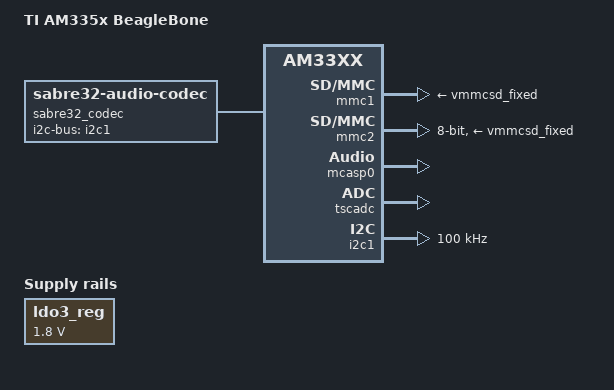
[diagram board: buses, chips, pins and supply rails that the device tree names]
/*
 * Copyright (C) 2012 Texas Instruments Incorporated - http://www.ti.com/
 *
 * This program is free software; you can redistribute it and/or modify
 * it under the terms of the GNU General Public License version 2 as
 * published by the Free Software Foundation.
 */
/dts-v1/;

#include "am33xx.dtsi"
#include "am335x-bone-common.dtsi"

/ {
	model = "TI AM335x BeagleBone";
	compatible = "ti,am335x-bone", "ti,am335x-bone-black", "ti,am335x-bone", "ti,am33xx";
};

&ldo3_reg {
	regulator-min-microvolt = <1800000>;
	regulator-max-microvolt = <1800000>;
	regulator-always-on;
};

&mmc1 {
	vmmc-supply = <&vmmcsd_fixed>;
};

&mmc2 {
	vmmc-supply = <&vmmcsd_fixed>;
	pinctrl-names = "default";
	pinctrl-0 = <&emmc_pins>;
	bus-width = <8>;
	status = "okay";
};

&cpu0_opp_table {
	/*
	 * All PG 2.0 silicon may not support 1GHz but some of the early
	 * BeagleBone Blacks have PG 2.0 silicon which is guaranteed
	 * to support 1GHz OPP so enable it for PG 2.0 on this board.
	 */
	oppnitro@1000000000 {
		opp-supported-hw = <0x06 0x0100>;
	};
};

/ {
	sabre32_codec: sabre32_codec {
		compatible = "sabre32-audio-codec";
		status = "okay";
		i2c-bus = <&i2c1>; /* Isolated I2C bus on Hermes-BBB. */
	};

	botic {
		compatible = "botic-audio-card";
		status = "okay";

		pinctrl-names = "init", "default", "compat";
		pinctrl-0 = <&botic_cape_common_pins>;
		pinctrl-1 = <&botic_cape_common_pins &botic_cape_default_pins>;
		pinctrl-2 = <&botic_cape_common_pins &botic_cape_compat_pins>;

		audio-port = <&mcasp0>;
		audio-codec = <&sabre32_codec>;
		audio-codec-dai = "sabre32-hifi";

		int-masterclk-enable = <&gpio1 27 0>;
		ext-masterclk-switch = <&gpio0 15 0>;
		dsd-format-switch = <&gpio0 14 0>;
		card-power-switch = <&gpio1 18 0>;
	};
};

&am33xx_pinmux {
	botic_cape_common_pins: botic_cape_common_pins {
		pinctrl-single,pins = <
			/* onboard 24.576MHz oscillator control */
			AM33XX_IOPAD(0x86c, PIN_OUTPUT_PULLDOWN | MUX_MODE7) /* gpmc_a11.GPIO1_27 */
			/* external masterclock enable */
			AM33XX_IOPAD(0x848, PIN_OUTPUT_PULLDOWN | MUX_MODE7) /* gpmc_a2.gpio1_18 */
			/* external masterclock switch */
			AM33XX_IOPAD(0x984, PIN_OUTPUT_PULLDOWN | MUX_MODE7) /* uart1_txd.gpio0_15 */
			/* DSD format switch */
			AM33XX_IOPAD(0x980, PIN_OUTPUT_PULLDOWN | MUX_MODE7) /* uart1_rxd.gpio0_14 */
			/* master clock */
			AM33XX_IOPAD(0x9ac, PIN_INPUT           | MUX_MODE0) /* mcasp0_ahcklx.mcasp0_ahclkx */
			/* bitclock */
			AM33XX_IOPAD(0x990, PIN_INPUT           | MUX_MODE0) /* mcasp0_aclkx.mcasp0_aclkx */
			/* wordclock */
			AM33XX_IOPAD(0x994, PIN_INPUT           | MUX_MODE0) /* mcasp0_fsx.mcasp0_fsx */
			/* data pins */
			AM33XX_IOPAD(0x998, PIN_INPUT           | MUX_MODE0) /* mcasp0_axr0.mcasp0_axr0 */
			AM33XX_IOPAD(0x9a8, PIN_INPUT           | MUX_MODE0) /* mcasp0_axr1.mcasp0_axr1 */
			AM33XX_IOPAD(0x9a4, PIN_INPUT           | MUX_MODE2) /* mcasp0_fsr.mcasp0_axr3 */
			/* disable CLKOUT2 to allow usage of mcasp0_axr1 on P9_42 */
			AM33XX_IOPAD(0x9b4, PIN_INPUT           | MUX_MODE7) /* xdma_event_intr1.gpio0_20 */
		>;
	};
	botic_cape_default_pins: botic_cape_default_pins {
		/* this configuration will allow to use AHCLKR in asynchronous mode later */
		pinctrl-single,pins = <
			/* data pins */
			AM33XX_IOPAD(0x9a0, PIN_INPUT           | MUX_MODE2) /* mcasp0_ahclkr.mcasp0_axr2 */
			/* disable eCAP0_in_PWM0_out to allow usage of mcasp0_axr2 on P9_41 */
			AM33XX_IOPAD(0x964, PIN_INPUT           | MUX_MODE7) /* ecap0_in_pwm0_out.gpio0_7 */
		>;
	};
	botic_cape_compat_pins: botic_cape_compat_pins {
		/* compatible with original BBB setup, this output is connected also to HDMI transmitter */
		pinctrl-single,pins = <
			/* data pins */
			AM33XX_IOPAD(0x99c, PIN_INPUT           | MUX_MODE2) /* mcasp0_ahclkr.mcasp0_axr2 */
		>;
	};

	i2c1_pins: pinmux_bb_i2c1_pins {
		pinctrl-single,pins = <
			0x158 0x72
			0x15c 0x72
		>;
	};
};

&rtc {
	system-power-controller;
};

&mcasp0 {
	status = "okay";
	op-mode = <0>;		/* MCASP_IIS_MODE */
	tdm-slots = <2>;
	num-serializer = <4>;
	serial-dir = <	/* 0: INACTIVE, 1: TX, 2: RX */
		1 1 1 1
	>;
	tx-num-evt = <16>;
	rx-num-evt = <1>;
};

/* Enable ADC driver. */
&tscadc {
	status = "okay";
};

/* (Hermes-BBB) A digital volume pot is connected to the AIN4. */
&am335x_adc {
	ti,adc-channels = <4>;
};

/* (Hermes-BBB) The I2C1 for isolated I2C access. */
&i2c1 {
	status = "okay";
	pinctrl-names = "default";
	pinctrl-0 = <&i2c1_pins>;
	clock-frequency = <100000>;
};

